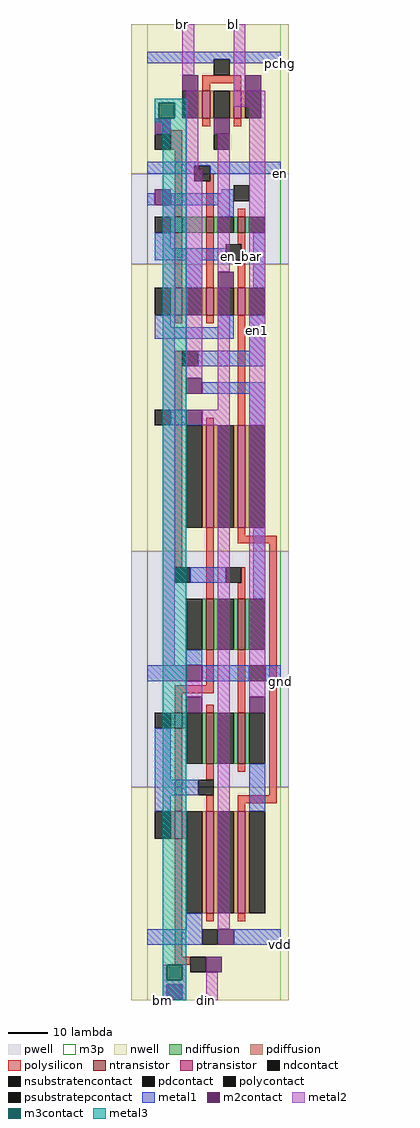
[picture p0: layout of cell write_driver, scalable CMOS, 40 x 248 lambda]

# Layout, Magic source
magic
tech scmos
<< nwell >>
rect -4 210 36 248
rect -4 114 36 187
rect -4 0 36 54
<< pwell >>
rect -4 187 36 210
rect -4 54 36 114
<< ntransistor >>
rect 7 195 9 199
rect 15 195 17 199
rect 23 195 25 199
rect 15 89 17 102
rect 23 89 25 102
rect 7 69 9 73
rect 15 60 17 73
rect 23 60 25 73
<< ptransistor >>
rect 14 224 16 231
rect 22 224 24 231
rect 7 174 9 181
rect 15 174 17 181
rect 23 174 25 181
rect 15 120 17 146
rect 23 120 25 146
rect 7 41 9 48
rect 15 22 17 48
rect 23 22 25 48
<< ndiffusion >>
rect 6 195 7 199
rect 9 195 15 199
rect 17 195 18 199
rect 22 195 23 199
rect 25 195 26 199
rect 14 89 15 102
rect 17 89 18 102
rect 22 89 23 102
rect 25 89 26 102
rect 6 69 7 73
rect 9 69 10 73
rect 14 60 15 73
rect 17 60 18 73
rect 22 60 23 73
rect 25 60 26 73
<< pdiffusion >>
rect 13 224 14 231
rect 16 224 17 231
rect 21 224 22 231
rect 24 224 25 231
rect 6 174 7 181
rect 9 174 10 181
rect 14 174 15 181
rect 17 174 18 181
rect 22 174 23 181
rect 25 174 26 181
rect 14 120 15 146
rect 17 120 18 146
rect 22 120 23 146
rect 25 120 26 146
rect 6 41 7 48
rect 9 41 10 48
rect 14 22 15 48
rect 17 22 18 48
rect 22 22 23 48
rect 25 22 26 48
<< ndcontact >>
rect 2 195 6 199
rect 18 195 22 199
rect 26 195 30 199
rect 10 89 14 102
rect 18 89 22 102
rect 26 89 30 102
rect 2 69 6 73
rect 10 60 14 73
rect 18 60 22 73
rect 26 60 30 73
<< pdcontact >>
rect 9 224 13 231
rect 17 224 21 231
rect 25 224 29 231
rect 2 174 6 181
rect 10 174 14 181
rect 18 174 22 181
rect 26 174 30 181
rect 10 120 14 146
rect 18 120 22 146
rect 26 120 30 146
rect 2 41 6 48
rect 10 22 14 48
rect 18 22 22 48
rect 26 22 30 48
<< psubstratepcontact >>
rect 22 203 26 207
rect 26 81 30 85
<< nsubstratencontact >>
rect 17 216 21 220
rect 2 146 6 150
rect 14 14 18 18
<< polysilicon >>
rect 14 233 24 235
rect 14 231 16 233
rect 22 231 24 233
rect 14 222 16 224
rect 22 222 24 224
rect 6 216 9 221
rect 7 199 9 216
rect 16 208 17 210
rect 15 199 17 208
rect 23 199 25 201
rect 7 181 9 195
rect 15 181 17 195
rect 23 192 25 195
rect 24 188 25 192
rect 23 181 25 188
rect 7 172 9 174
rect 15 172 17 174
rect 7 110 9 165
rect 15 146 17 148
rect 23 146 25 174
rect 15 102 17 120
rect 23 118 25 120
rect 23 116 33 118
rect 24 106 25 110
rect 23 102 25 106
rect 15 80 17 89
rect 7 78 17 80
rect 7 73 9 78
rect 15 73 17 75
rect 23 73 25 89
rect 7 48 9 69
rect 15 56 17 60
rect 23 58 25 60
rect 31 52 33 116
rect 15 48 17 52
rect 23 50 33 52
rect 23 48 25 50
rect 7 11 9 41
rect 15 20 17 22
rect 23 20 25 22
rect 7 9 11 11
<< polycontact >>
rect 17 235 21 239
rect 2 216 6 220
rect 12 208 16 212
rect 20 188 24 192
rect 9 161 13 165
rect 7 106 11 110
rect 20 106 24 110
rect 13 52 17 56
rect 11 7 15 11
<< metal1 >>
rect 0 239 34 241
rect 0 238 17 239
rect 21 238 34 239
rect 0 212 34 213
rect 0 210 12 212
rect 16 210 34 212
rect 0 202 2 205
rect 19 205 22 206
rect 6 202 22 205
rect 18 199 22 202
rect 2 191 6 195
rect 2 188 20 191
rect 10 181 14 188
rect 27 181 30 195
rect 2 171 6 174
rect 18 171 22 174
rect 2 168 22 171
rect 26 165 30 174
rect 13 161 30 165
rect 14 154 30 157
rect 6 146 10 150
rect 26 146 30 154
rect 11 106 20 110
rect 27 102 30 120
rect 10 85 14 89
rect 0 81 10 85
rect 14 81 26 85
rect 30 81 34 85
rect 2 56 6 69
rect 2 52 13 56
rect 2 48 6 52
rect 26 48 30 60
rect 10 18 14 22
rect 0 14 14 18
rect 22 14 34 18
<< m2contact >>
rect 9 231 13 235
rect 25 231 29 235
rect 2 220 6 224
rect 17 220 21 224
rect 2 202 6 206
rect 18 181 22 185
rect 10 154 14 158
rect 10 146 14 150
rect 10 81 14 85
rect 10 73 14 77
rect 26 73 30 77
rect 18 14 22 18
rect 15 7 19 11
rect 5 0 9 4
<< metal2 >>
rect 9 235 12 248
rect 10 211 13 231
rect 22 231 25 248
rect 22 227 30 231
rect 6 202 7 205
rect 4 85 7 202
rect 10 158 14 211
rect 18 185 21 220
rect 18 150 21 181
rect 14 146 21 150
rect 4 81 10 85
rect 10 77 14 81
rect 18 18 21 146
rect 26 77 30 227
rect 4 5 5 9
rect 9 5 10 9
rect 4 4 10 5
rect 4 0 5 4
rect 9 0 10 4
rect 15 0 18 7
<< m3contact >>
rect 3 224 7 228
rect 5 5 9 9
<< metal3 >>
rect 2 228 10 229
rect 2 224 3 228
rect 7 224 10 228
rect 2 223 10 224
rect 4 9 10 223
rect 4 5 5 9
rect 9 5 10 9
rect 4 0 10 5
<< m3p >>
rect 0 0 34 248
<< labels >>
rlabel metal1 34 14 34 14 7 vdd
rlabel metal1 34 81 34 81 7 gnd
rlabel metal1 34 210 34 210 1 en
rlabel metal1 34 238 34 238 7 pchg
rlabel metal2 28 170 28 170 1 en1
rlabel polycontact 24 189 24 189 1 en_bar
rlabel metal2 9 248 9 248 5 br
rlabel metal2 22 248 22 248 5 bl
rlabel metal2 15 0 15 0 1 din
rlabel metal3 4 0 4 0 1 bm
<< end >>
